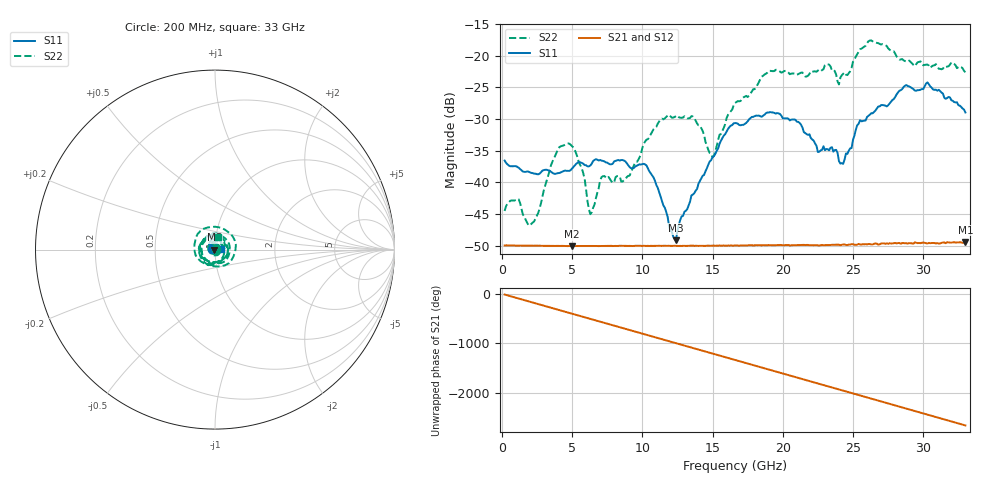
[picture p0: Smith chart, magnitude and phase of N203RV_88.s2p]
# GHZ S RI R 50
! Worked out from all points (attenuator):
!   329 points, 200 MHz to 33 GHz, reference 50 ohm
!   highest |S21| = -49.44 dB at 33 GHz (marker M1); lowest = -50.1 dB at 5 GHz (marker M2)
!   lowest |S11| = -49.2 dB at 12.4 GHz (marker M3), VSWR 1.01, Z = 49.7 - j0.0401 ohm
!   |S11| at or under -10 dB: start of sweep to end of sweep
!   |S22| runs from -46.8 to -17.6 dB; largest |S21 - S12| = 7.2e-05
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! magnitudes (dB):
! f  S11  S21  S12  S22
! 200 MHz  -36.6  -50.0  -49.9  -44.5
! 1.2 GHz  -37.7  -50.0  -50.0  -42.7
! 2 GHz  -38.4  -50.0  -50.0  -46.8
! 4 GHz  -38.5  -50.1  -50.0  -34.7
! 5 GHz  -37.8  -50.1  -50.1  -34.3
! 5.7 GHz  -36.9  -50.1  -50.0  -37.8
! 6.3 GHz  -37.3  -50.1  -50.0  -45.0
! 7.1 GHz  -36.6  -50.1  -50.0  -39.2
! 8.8 GHz  -36.7  -50.1  -50.0  -39.5
! 10.1 GHz  -37.1  -50.0  -50.0  -33.9
! 11.2 GHz  -41.5  -50.0  -50.0  -30.4
! 12.4 GHz  -49.2  -50.0  -50.0  -29.5
! 13.6 GHz  -41.9  -50.0  -50.0  -29.6
! 15 GHz  -36.0  -50.0  -50.0  -36.0
! 16.6 GHz  -30.6  -50.0  -50.0  -27.5
! 19.6 GHz  -29.1  -49.9  -49.9  -22.2
! 22.1 GHz  -33.2  -49.9  -49.9  -22.5
! 24.3 GHz  -37.1  -49.8  -49.9  -22.9
! 25.5 GHz  -30.2  -49.8  -49.8  -19.0
! 27.6 GHz  -27.6  -49.6  -49.6  -19.0
! 30.3 GHz  -24.2  -49.7  -49.6  -21.4
! 33 GHz  -29.0  -49.4  -49.4  -22.6
